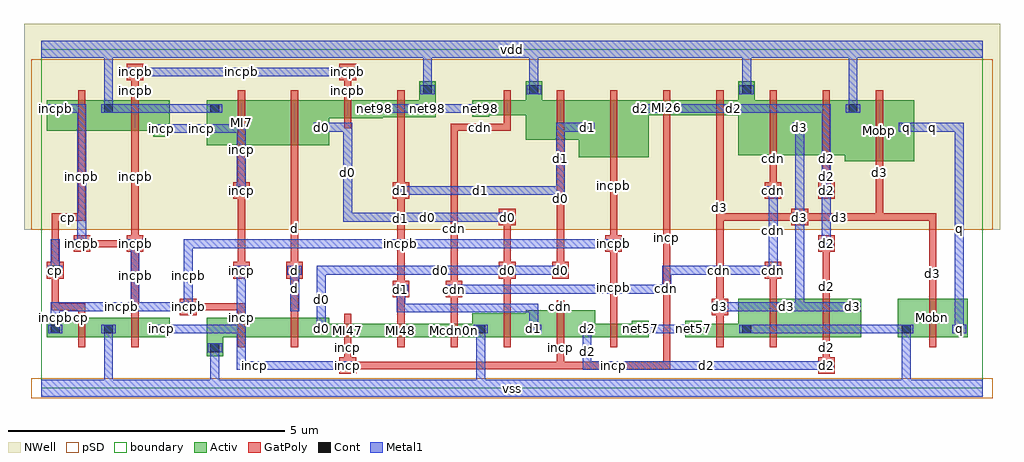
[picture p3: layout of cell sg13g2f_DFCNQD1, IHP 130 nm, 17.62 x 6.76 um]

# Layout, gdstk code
import gdstk
lib = gdstk.Library(unit=1e-6, precision=1e-09)
def R(c, l, rs):  # rectangles x0, y0, x1, y1
    for r in rs: c.add(gdstk.rectangle(r[:2], r[2:], *l))
def A(c, l, x, y, w, h, nx, ny, dx, dy):  # array of equal rectangles
    R(c, l, [(x+i*dx, y+j*dy, x+i*dx+w, y+j*dy+h) for i in range(nx) for j in range(ny)])
Activ = (1, 0)
GatPoly = (5, 0)
Cont = (6, 0)
Metal1 = (8, 0)
pSD = (14, 0)
NWell = (31, 0)
TEXT = (63, 0)
boundary = (189, 4)

sg13g2f_dfcnqd1 = lib.new_cell('sg13g2f_DFCNQD1')
A(sg13g2f_dfcnqd1, Activ, 0.105, 0.92, 0.3, 0.3, 3, 1, 0.96, 0)
A(sg13g2f_dfcnqd1, Activ, 4.905, 0.92, 1.26, 0.245, 3, 1, 0.96, 0)
A(sg13g2f_dfcnqd1, Activ, 7.785, 0.92, 0.3, 0.3, 6, 1, 0.96, 0)
R(sg13g2f_dfcnqd1, Activ, [(2.985,0.58,3.285,0.88), (2.985,0.58,3.285,1.27), (0.105,0.92,1.365,1.27), (1.065,0.92,2.325,1.27), (2.985,0.92,4.245,1.27), (3.945,0.92,5.205,1.27), (4.905,0.92,5.205,1.22), (7.785,0.92,9.045,1.35), (8.745,0.92,10.005,1.41), (9.705,0.92,10.965,1.165), (11.625,0.92,12.885,1.165), (12.585,0.92,13.845,1.62), (13.545,0.92,14.805,1.62), (15.465,0.92,16.725,1.62), (15.465,0.92,15.765,1.22), (16.425,0.92,16.725,1.22), (14.505,1.32,14.805,1.62), (14.505,4.1,15.765,5.2), (9.705,4.17,10.965,5.2), (12.585,4.21,13.845,5.2), (13.545,4.21,14.805,5.2), (2.985,4.39,4.245,5.2), (3.945,4.39,5.205,5.2), (8.745,4.485,10.005,5.2), (2.025,4.54,2.325,4.84), (4.905,4.56,5.205,4.86), (9.705,4.56,10.005,4.86), (13.545,4.56,13.845,4.86), (15.465,4.56,15.765,4.86), (0.105,4.65,1.365,5.2), (1.065,4.65,2.325,5.2), (4.905,4.87,6.165,5.2), (5.865,4.895,7.125,5.2), (6.825,4.895,7.125,5.54), (0.105,4.9,0.405,5.2), (1.065,4.9,1.365,5.2), (2.985,4.9,3.285,5.2), (5.865,4.9,6.165,5.2), (7.785,4.9,8.085,5.2), (10.665,4.9,10.965,5.2), (14.505,4.9,14.805,5.2), (7.785,4.925,9.045,5.2), (8.745,4.925,9.045,5.54), (10.665,4.925,11.925,5.2), (11.625,4.925,12.885,5.2), (12.585,4.925,12.885,5.54), (6.825,5.24,7.125,5.54), (8.745,5.24,9.045,5.54), (12.585,5.24,12.885,5.54)])
A(sg13g2f_dfcnqd1, GatPoly, 5.47, 0.74, 0.13, 0.605, 3, 1, 0.96, 0)
R(sg13g2f_dfcnqd1, GatPoly, [(5.385,0.26,5.685,0.56), (14.025,0.26,14.325,0.56), (5.47,0.345,5.6,1.135), (5.47,0.345,11.36,0.475), (9.31,0.345,9.44,1.135), (11.23,0.345,11.36,5.115), (14.11,0.345,14.24,1.135), (0.67,0.74,0.8,1.45), (1.63,0.74,1.76,1.45), (3.55,0.74,3.68,1.45), (4.51,0.74,4.64,1.45), (8.35,0.74,8.48,1.53), (9.31,0.74,9.44,1.59), (10.27,0.74,10.4,1.345), (12.19,0.74,12.32,1.345), (13.15,0.74,13.28,1.8), (14.11,0.74,14.24,1.8), (16.03,0.74,16.16,1.8), (0.67,1.005,0.8,1.535), (1.63,1.005,1.76,2.675), (3.55,1.005,3.68,1.535), (4.51,1.005,4.64,4.775), (6.43,1.005,6.56,5.115), (7.39,1.005,7.52,4.775), (8.35,1.005,8.48,3.155), (10.27,1.005,10.4,2.675), (12.19,1.005,12.32,1.535), (13.15,1.005,13.28,2.195), (14.11,1.005,14.24,2.675), (16.03,1.005,16.16,3.155), (2.505,1.32,2.805,1.62), (12.105,1.32,12.405,1.62), (0.19,1.405,0.8,1.535), (0.19,1.405,0.32,3.155), (2.59,1.405,3.68,1.535), (12.19,1.405,12.32,5.115), (6.345,1.64,6.645,1.94), (7.305,1.64,7.605,1.94), (0.105,1.98,0.405,2.28), (3.465,1.98,3.765,2.28), (4.425,1.98,4.725,2.28), (8.265,1.98,8.565,2.28), (9.225,1.98,9.525,2.28), (13.065,1.98,13.365,2.28), (3.55,2.065,3.68,4.775), (9.31,2.065,9.44,4.775), (0.585,2.46,0.885,2.76), (1.545,2.46,1.845,2.76), (10.185,2.46,10.485,2.76), (14.025,2.46,14.325,2.76), (0.67,2.545,1.76,2.675), (1.63,2.545,1.76,5.115), (10.27,2.545,10.4,4.775), (8.265,2.94,8.565,3.24), (13.545,2.94,13.845,3.24), (0.19,3.025,0.8,3.155), (0.67,3.025,0.8,5.115), (12.19,3.025,16.16,3.155), (13.63,3.025,15.2,3.155), (15.07,3.025,15.2,4.775), (3.465,3.42,3.765,3.72), (6.345,3.42,6.645,3.72), (13.065,3.42,13.365,3.72), (14.025,3.42,14.325,3.72), (13.15,3.505,13.28,4.775), (14.11,3.505,14.24,4.775), (15.07,3.92,15.2,5.38), (10.27,3.99,10.4,5.38), (13.15,4.03,13.28,5.38), (14.11,4.03,14.24,5.38), (3.55,4.21,3.68,5.38), (4.51,4.21,4.64,5.38), (9.31,4.305,9.44,5.38), (0.67,4.47,0.8,5.38), (1.63,4.47,1.76,5.38), (7.39,4.645,8.48,4.775), (8.35,4.645,8.48,5.115), (5.47,4.69,5.6,5.38), (6.43,4.715,6.56,5.38), (8.35,4.745,8.48,5.38), (11.23,4.745,11.36,5.38), (12.19,4.745,12.32,5.38), (1.63,4.985,1.76,5.775), (5.47,4.985,5.6,5.775), (1.545,5.56,1.845,5.86), (5.385,5.56,5.685,5.86)])
A(sg13g2f_dfcnqd1, Cont, 0.175, 0.99, 0.16, 0.16, 3, 1, 0.96, 0)
A(sg13g2f_dfcnqd1, Cont, 7.855, 0.99, 0.16, 0.16, 6, 1, 0.96, 0)
R(sg13g2f_dfcnqd1, Cont, [(5.455,0.33,5.615,0.49), (14.095,0.33,14.255,0.49), (3.055,0.65,3.215,0.81), (4.975,0.99,5.135,1.15), (15.535,0.99,15.695,1.15), (16.495,0.99,16.655,1.15), (2.575,1.39,2.735,1.55), (12.175,1.39,12.335,1.55), (14.575,1.39,14.735,1.55), (6.415,1.71,6.575,1.87), (7.375,1.71,7.535,1.87), (0.175,2.05,0.335,2.21), (3.535,2.05,3.695,2.21), (4.495,2.05,4.655,2.21), (8.335,2.05,8.495,2.21), (9.295,2.05,9.455,2.21), (13.135,2.05,13.295,2.21), (0.655,2.53,0.815,2.69), (1.615,2.53,1.775,2.69), (10.255,2.53,10.415,2.69), (14.095,2.53,14.255,2.69), (8.335,3.01,8.495,3.17), (13.615,3.01,13.775,3.17), (3.535,3.49,3.695,3.65), (6.415,3.49,6.575,3.65), (13.135,3.49,13.295,3.65), (14.095,3.49,14.255,3.65), (2.095,4.61,2.255,4.77), (4.975,4.63,5.135,4.79), (9.775,4.63,9.935,4.79), (13.615,4.63,13.775,4.79), (15.535,4.63,15.695,4.79), (0.175,4.97,0.335,5.13), (1.135,4.97,1.295,5.13), (3.055,4.97,3.215,5.13), (5.935,4.97,6.095,5.13), (7.855,4.97,8.015,5.13), (10.735,4.97,10.895,5.13), (14.575,4.97,14.735,5.13), (6.895,5.31,7.055,5.47), (8.815,5.31,8.975,5.47), (12.655,5.31,12.815,5.47), (1.615,5.63,1.775,5.79), (5.455,5.63,5.615,5.79)])
A(sg13g2f_dfcnqd1, Metal1, 0.125, 0.99, 0.26, 0.16, 3, 1, 0.96, 0)
A(sg13g2f_dfcnqd1, Metal1, 7.805, 0.99, 0.26, 0.16, 6, 1, 0.96, 0)
R(sg13g2f_dfcnqd1, Metal1, [(0,-0.15,17,0.15), (1.135,0.15,1.295,0.99), (3.055,0.15,3.215,0.65), (7.855,0.15,8.015,0.99), (15.535,0.15,15.695,0.99), (3.535,0.33,5.615,0.49), (3.535,0.33,3.695,2.21), (5.405,0.33,5.665,0.49), (9.775,0.33,14.255,0.49), (9.775,0.33,9.935,1.15), (14.045,0.33,14.305,0.49), (3.005,0.65,3.265,0.81), (0.175,0.99,0.335,1.55), (2.095,0.99,3.695,1.15), (4.925,0.99,5.185,1.15), (4.975,0.99,5.135,2.21), (8.815,0.99,8.975,1.53), (10.735,0.99,11.855,1.15), (12.655,0.99,15.695,1.15), (15.485,0.99,15.745,1.15), (16.445,0.99,16.705,1.15), (16.495,0.99,16.655,4.79), (6.415,1.37,8.975,1.53), (6.415,1.37,6.575,1.87), (0.175,1.39,2.735,1.55), (1.615,1.39,1.775,2.69), (2.525,1.39,2.785,1.55), (2.575,1.39,2.735,2.69), (4.495,1.39,4.655,2.21), (12.125,1.39,12.385,1.55), (12.175,1.39,14.735,1.55), (13.615,1.39,13.775,4.79), (14.525,1.39,14.785,1.55), (6.365,1.71,6.625,1.87), (7.325,1.71,7.585,1.87), (7.375,1.71,11.375,1.87), (11.215,1.71,11.375,2.21), (0.125,2.05,0.385,2.21), (0.175,2.05,0.335,2.69), (3.485,2.05,3.745,2.21), (4.445,2.05,4.705,2.21), (4.975,2.05,9.455,2.21), (8.285,2.05,8.545,2.21), (9.245,2.05,9.505,2.21), (11.215,2.05,13.295,2.21), (13.085,2.05,13.345,2.21), (13.135,2.05,13.295,3.65), (0.605,2.53,0.865,2.69), (0.655,2.53,0.815,5.13), (1.565,2.53,1.825,2.69), (2.575,2.53,10.415,2.69), (10.205,2.53,10.465,2.69), (14.045,2.53,14.305,2.69), (14.095,2.53,14.255,5.13), (5.455,3.01,8.495,3.17), (5.455,3.01,5.615,4.79), (8.285,3.01,8.545,3.17), (13.565,3.01,13.825,3.17), (3.485,3.49,3.745,3.65), (3.535,3.49,3.695,4.77), (6.365,3.49,6.625,3.65), (6.415,3.49,9.455,3.65), (9.295,3.49,9.455,4.79), (13.085,3.49,13.345,3.65), (14.045,3.49,14.305,3.65), (2.045,4.61,2.305,4.77), (2.095,4.61,3.695,4.77), (4.925,4.63,5.185,4.79), (4.975,4.63,5.615,4.79), (9.295,4.63,9.935,4.79), (9.725,4.63,9.985,4.79), (13.565,4.63,13.825,4.79), (15.485,4.63,15.745,4.79), (15.535,4.63,16.655,4.79), (0.125,4.97,0.385,5.13), (0.175,4.97,0.815,5.13), (1.085,4.97,1.345,5.13), (1.135,4.97,3.215,5.13), (1.135,4.97,1.295,5.97), (3.005,4.97,3.265,5.13), (5.885,4.97,6.145,5.13), (5.935,4.97,8.015,5.13), (7.805,4.97,8.065,5.13), (10.685,4.97,10.945,5.13), (10.735,4.97,14.255,5.13), (14.525,4.97,14.785,5.13), (14.575,5.13,14.735,5.97), (6.845,5.31,7.105,5.47), (8.765,5.31,9.025,5.47), (12.605,5.31,12.865,5.47), (6.895,5.47,7.055,5.97), (8.815,5.47,8.975,5.97), (12.655,5.47,12.815,5.97), (1.565,5.63,1.825,5.79), (1.615,5.63,5.615,5.79), (5.405,5.63,5.665,5.79), (0,5.97,17,6.27)])
R(sg13g2f_dfcnqd1, pSD, [(-0.18,-0.18,17.18,0.18), (-0.18,2.86,17.18,5.94)])
R(sg13g2f_dfcnqd1, NWell, [(-0.31,2.86,17.31,6.58)])
R(sg13g2f_dfcnqd1, boundary, [(0,0,17,6.12)])
sg13g2f_dfcnqd1.add(gdstk.FlexPath([(0.105,0.41),(16.725,0.41)], 0, ends="flush", simple_path=True, layer=63, datatype=0))  # TEXT
sg13g2f_dfcnqd1.add(gdstk.FlexPath([(0.105,1.07),(16.725,1.07)], 0, ends="flush", simple_path=True, layer=63, datatype=0))  # TEXT
sg13g2f_dfcnqd1.add(gdstk.FlexPath([(0.105,1.49),(16.725,1.49)], 0, ends="flush", simple_path=True, layer=63, datatype=0))  # TEXT
sg13g2f_dfcnqd1.add(gdstk.FlexPath([(0.105,2.15),(16.725,2.15)], 0, ends="flush", simple_path=True, layer=63, datatype=0))  # TEXT
sg13g2f_dfcnqd1.add(gdstk.FlexPath([(0.105,2.63),(16.725,2.63)], 0, ends="flush", simple_path=True, layer=63, datatype=0))  # TEXT
sg13g2f_dfcnqd1.add(gdstk.FlexPath([(0.105,3.11),(16.725,3.11)], 0, ends="flush", simple_path=True, layer=63, datatype=0))  # TEXT
sg13g2f_dfcnqd1.add(gdstk.FlexPath([(0.105,4.15),(16.725,4.15)], 0, ends="flush", simple_path=True, layer=63, datatype=0))  # TEXT
sg13g2f_dfcnqd1.add(gdstk.FlexPath([(0.105,4.71),(16.725,4.71)], 0, ends="flush", simple_path=True, layer=63, datatype=0))  # TEXT
sg13g2f_dfcnqd1.add(gdstk.FlexPath([(0.105,5.05),(16.725,5.05)], 0, ends="flush", simple_path=True, layer=63, datatype=0))  # TEXT
sg13g2f_dfcnqd1.add(gdstk.FlexPath([(0.105,5.71),(16.725,5.71)], 0, ends="flush", simple_path=True, layer=63, datatype=0))  # TEXT
sg13g2f_dfcnqd1.add(gdstk.FlexPath([(0.255,0.07),(0.255,6.05)], 0, ends="flush", simple_path=True, layer=63, datatype=0))  # TEXT
sg13g2f_dfcnqd1.add(gdstk.FlexPath([(0.735,0.07),(0.735,6.05)], 0, ends="flush", simple_path=True, layer=63, datatype=0))  # TEXT
sg13g2f_dfcnqd1.add(gdstk.FlexPath([(1.215,0.07),(1.215,6.05)], 0, ends="flush", simple_path=True, layer=63, datatype=0))  # TEXT
sg13g2f_dfcnqd1.add(gdstk.FlexPath([(1.695,0.07),(1.695,6.05)], 0, ends="flush", simple_path=True, layer=63, datatype=0))  # TEXT
sg13g2f_dfcnqd1.add(gdstk.FlexPath([(2.175,0.07),(2.175,6.05)], 0, ends="flush", simple_path=True, layer=63, datatype=0))  # TEXT
sg13g2f_dfcnqd1.add(gdstk.FlexPath([(2.655,0.07),(2.655,6.05)], 0, ends="flush", simple_path=True, layer=63, datatype=0))  # TEXT
sg13g2f_dfcnqd1.add(gdstk.FlexPath([(3.135,0.07),(3.135,6.05)], 0, ends="flush", simple_path=True, layer=63, datatype=0))  # TEXT
sg13g2f_dfcnqd1.add(gdstk.FlexPath([(3.615,0.07),(3.615,6.05)], 0, ends="flush", simple_path=True, layer=63, datatype=0))  # TEXT
sg13g2f_dfcnqd1.add(gdstk.FlexPath([(4.095,0.07),(4.095,6.05)], 0, ends="flush", simple_path=True, layer=63, datatype=0))  # TEXT
sg13g2f_dfcnqd1.add(gdstk.FlexPath([(4.575,0.07),(4.575,6.05)], 0, ends="flush", simple_path=True, layer=63, datatype=0))  # TEXT
sg13g2f_dfcnqd1.add(gdstk.FlexPath([(5.055,0.07),(5.055,6.05)], 0, ends="flush", simple_path=True, layer=63, datatype=0))  # TEXT
sg13g2f_dfcnqd1.add(gdstk.FlexPath([(5.535,0.07),(5.535,6.05)], 0, ends="flush", simple_path=True, layer=63, datatype=0))  # TEXT
sg13g2f_dfcnqd1.add(gdstk.FlexPath([(6.015,0.07),(6.015,6.05)], 0, ends="flush", simple_path=True, layer=63, datatype=0))  # TEXT
sg13g2f_dfcnqd1.add(gdstk.FlexPath([(6.495,0.07),(6.495,6.05)], 0, ends="flush", simple_path=True, layer=63, datatype=0))  # TEXT
sg13g2f_dfcnqd1.add(gdstk.FlexPath([(6.975,0.07),(6.975,6.05)], 0, ends="flush", simple_path=True, layer=63, datatype=0))  # TEXT
sg13g2f_dfcnqd1.add(gdstk.FlexPath([(7.455,0.07),(7.455,6.05)], 0, ends="flush", simple_path=True, layer=63, datatype=0))  # TEXT
sg13g2f_dfcnqd1.add(gdstk.FlexPath([(7.935,0.07),(7.935,6.05)], 0, ends="flush", simple_path=True, layer=63, datatype=0))  # TEXT
sg13g2f_dfcnqd1.add(gdstk.FlexPath([(8.415,0.07),(8.415,6.05)], 0, ends="flush", simple_path=True, layer=63, datatype=0))  # TEXT
sg13g2f_dfcnqd1.add(gdstk.FlexPath([(8.895,0.07),(8.895,6.05)], 0, ends="flush", simple_path=True, layer=63, datatype=0))  # TEXT
sg13g2f_dfcnqd1.add(gdstk.FlexPath([(9.375,0.07),(9.375,6.05)], 0, ends="flush", simple_path=True, layer=63, datatype=0))  # TEXT
sg13g2f_dfcnqd1.add(gdstk.FlexPath([(9.855,0.07),(9.855,6.05)], 0, ends="flush", simple_path=True, layer=63, datatype=0))  # TEXT
sg13g2f_dfcnqd1.add(gdstk.FlexPath([(10.335,0.07),(10.335,6.05)], 0, ends="flush", simple_path=True, layer=63, datatype=0))  # TEXT
sg13g2f_dfcnqd1.add(gdstk.FlexPath([(10.815,0.07),(10.815,6.05)], 0, ends="flush", simple_path=True, layer=63, datatype=0))  # TEXT
sg13g2f_dfcnqd1.add(gdstk.FlexPath([(11.295,0.07),(11.295,6.05)], 0, ends="flush", simple_path=True, layer=63, datatype=0))  # TEXT
sg13g2f_dfcnqd1.add(gdstk.FlexPath([(11.775,0.07),(11.775,6.05)], 0, ends="flush", simple_path=True, layer=63, datatype=0))  # TEXT
sg13g2f_dfcnqd1.add(gdstk.FlexPath([(12.255,0.07),(12.255,6.05)], 0, ends="flush", simple_path=True, layer=63, datatype=0))  # TEXT
sg13g2f_dfcnqd1.add(gdstk.FlexPath([(12.735,0.07),(12.735,6.05)], 0, ends="flush", simple_path=True, layer=63, datatype=0))  # TEXT
sg13g2f_dfcnqd1.add(gdstk.FlexPath([(13.215,0.07),(13.215,6.05)], 0, ends="flush", simple_path=True, layer=63, datatype=0))  # TEXT
sg13g2f_dfcnqd1.add(gdstk.FlexPath([(13.695,0.07),(13.695,6.05)], 0, ends="flush", simple_path=True, layer=63, datatype=0))  # TEXT
sg13g2f_dfcnqd1.add(gdstk.FlexPath([(14.175,0.07),(14.175,6.05)], 0, ends="flush", simple_path=True, layer=63, datatype=0))  # TEXT
sg13g2f_dfcnqd1.add(gdstk.FlexPath([(14.655,0.07),(14.655,6.05)], 0, ends="flush", simple_path=True, layer=63, datatype=0))  # TEXT
sg13g2f_dfcnqd1.add(gdstk.FlexPath([(15.135,0.07),(15.135,6.05)], 0, ends="flush", simple_path=True, layer=63, datatype=0))  # TEXT
sg13g2f_dfcnqd1.add(gdstk.FlexPath([(15.615,0.07),(15.615,6.05)], 0, ends="flush", simple_path=True, layer=63, datatype=0))  # TEXT
sg13g2f_dfcnqd1.add(gdstk.FlexPath([(16.095,0.07),(16.095,6.05)], 0, ends="flush", simple_path=True, layer=63, datatype=0))  # TEXT
sg13g2f_dfcnqd1.add(gdstk.FlexPath([(16.575,0.07),(16.575,6.05)], 0, ends="flush", simple_path=True, layer=63, datatype=0))  # TEXT
sg13g2f_dfcnqd1.add(gdstk.Label('incpb', (0.255,5.05), layer=6, texttype=0))
sg13g2f_dfcnqd1.add(gdstk.Label('incpb', (2.655,1.47), layer=6, texttype=0))
sg13g2f_dfcnqd1.add(gdstk.Label('incpb', (10.335,2.61), layer=6, texttype=0))
sg13g2f_dfcnqd1.add(gdstk.Label('incpb', (0.735,2.61), layer=6, texttype=0))
sg13g2f_dfcnqd1.add(gdstk.Label('incpb', (1.695,2.61), layer=6, texttype=0))
sg13g2f_dfcnqd1.add(gdstk.Label('incpb', (1.695,5.71), layer=6, texttype=0))
sg13g2f_dfcnqd1.add(gdstk.Label('incpb', (5.535,5.71), layer=6, texttype=0))
sg13g2f_dfcnqd1.add(gdstk.Label('cp', (0.255,2.13), layer=6, texttype=0))
sg13g2f_dfcnqd1.add(gdstk.Label('incp', (2.175,1.07), layer=6, texttype=0))
sg13g2f_dfcnqd1.add(gdstk.Label('incp', (2.175,4.69), layer=6, texttype=0))
sg13g2f_dfcnqd1.add(gdstk.Label('incp', (5.535,0.41), layer=6, texttype=0))
sg13g2f_dfcnqd1.add(gdstk.Label('incp', (3.615,2.13), layer=6, texttype=0))
sg13g2f_dfcnqd1.add(gdstk.Label('incp', (3.615,3.57), layer=6, texttype=0))
sg13g2f_dfcnqd1.add(gdstk.Label('cdn', (7.455,1.79), layer=6, texttype=0))
sg13g2f_dfcnqd1.add(gdstk.Label('d0', (5.055,1.07), layer=6, texttype=0))
sg13g2f_dfcnqd1.add(gdstk.Label('d0', (5.055,4.71), layer=6, texttype=0))
sg13g2f_dfcnqd1.add(gdstk.Label('d0', (9.375,2.13), layer=6, texttype=0))
sg13g2f_dfcnqd1.add(gdstk.Label('d0', (8.415,3.09), layer=6, texttype=0))
sg13g2f_dfcnqd1.add(gdstk.Label('d0', (8.415,2.13), layer=6, texttype=0))
sg13g2f_dfcnqd1.add(gdstk.Label('d', (4.575,2.13), layer=6, texttype=0))
sg13g2f_dfcnqd1.add(gdstk.Label('net98', (6.015,5.05), layer=6, texttype=0))
sg13g2f_dfcnqd1.add(gdstk.Label('net98', (7.935,5.05), layer=6, texttype=0))
sg13g2f_dfcnqd1.add(gdstk.Label('d1', (8.895,1.07), layer=6, texttype=0))
sg13g2f_dfcnqd1.add(gdstk.Label('d1', (9.855,4.71), layer=6, texttype=0))
sg13g2f_dfcnqd1.add(gdstk.Label('d1', (6.495,3.57), layer=6, texttype=0))
sg13g2f_dfcnqd1.add(gdstk.Label('d1', (6.495,1.79), layer=6, texttype=0))
sg13g2f_dfcnqd1.add(gdstk.Label('cdn', (13.215,2.13), layer=6, texttype=0))
sg13g2f_dfcnqd1.add(gdstk.Label('cdn', (13.215,3.57), layer=6, texttype=0))
sg13g2f_dfcnqd1.add(gdstk.Label('d2', (9.855,1.07), layer=6, texttype=0))
sg13g2f_dfcnqd1.add(gdstk.Label('d2', (10.815,5.05), layer=6, texttype=0))
sg13g2f_dfcnqd1.add(gdstk.Label('d2', (14.175,0.41), layer=6, texttype=0))
sg13g2f_dfcnqd1.add(gdstk.Label('d2', (14.175,2.61), layer=6, texttype=0))
sg13g2f_dfcnqd1.add(gdstk.Label('d2', (14.175,3.57), layer=6, texttype=0))
sg13g2f_dfcnqd1.add(gdstk.Label('net57', (10.815,1.07), layer=6, texttype=0))
sg13g2f_dfcnqd1.add(gdstk.Label('net57', (11.775,1.07), layer=6, texttype=0))
sg13g2f_dfcnqd1.add(gdstk.Label('d3', (14.655,1.47), layer=6, texttype=0))
sg13g2f_dfcnqd1.add(gdstk.Label('d3', (13.695,4.71), layer=6, texttype=0))
sg13g2f_dfcnqd1.add(gdstk.Label('d3', (12.255,1.47), layer=6, texttype=0))
sg13g2f_dfcnqd1.add(gdstk.Label('d3', (13.695,3.09), layer=6, texttype=0))
sg13g2f_dfcnqd1.add(gdstk.Label('q', (16.575,1.07), layer=6, texttype=0))
sg13g2f_dfcnqd1.add(gdstk.Label('q', (15.615,4.71), layer=6, texttype=0))
sg13g2f_dfcnqd1.add(gdstk.Label('d2', (9.855,0.67), layer=8, texttype=0))
sg13g2f_dfcnqd1.add(gdstk.Label('incpb', (0.255,5.05), layer=8, texttype=0))
sg13g2f_dfcnqd1.add(gdstk.Label('incpb', (0.255,1.27), layer=8, texttype=0))
sg13g2f_dfcnqd1.add(gdstk.Label('incpb', (1.455,1.47), layer=8, texttype=0))
sg13g2f_dfcnqd1.add(gdstk.Label('incpb', (2.655,1.47), layer=8, texttype=0))
sg13g2f_dfcnqd1.add(gdstk.Label('incpb', (2.655,2.04), layer=8, texttype=0))
sg13g2f_dfcnqd1.add(gdstk.Label('incpb', (6.495,2.61), layer=8, texttype=0))
sg13g2f_dfcnqd1.add(gdstk.Label('incpb', (10.335,2.61), layer=8, texttype=0))
sg13g2f_dfcnqd1.add(gdstk.Label('incpb', (0.735,2.61), layer=8, texttype=0))
sg13g2f_dfcnqd1.add(gdstk.Label('incpb', (0.735,3.83), layer=8, texttype=0))
sg13g2f_dfcnqd1.add(gdstk.Label('incpb', (0.495,5.05), layer=8, texttype=0))
sg13g2f_dfcnqd1.add(gdstk.Label('incpb', (1.695,2.04), layer=8, texttype=0))
sg13g2f_dfcnqd1.add(gdstk.Label('incpb', (1.695,2.61), layer=8, texttype=0))
sg13g2f_dfcnqd1.add(gdstk.Label('incpb', (1.695,5.71), layer=8, texttype=0))
sg13g2f_dfcnqd1.add(gdstk.Label('incpb', (3.615,5.71), layer=8, texttype=0))
sg13g2f_dfcnqd1.add(gdstk.Label('incpb', (5.535,5.71), layer=8, texttype=0))
sg13g2f_dfcnqd1.add(gdstk.Label('incp', (2.175,1.07), layer=8, texttype=0))
sg13g2f_dfcnqd1.add(gdstk.Label('incp', (2.175,4.69), layer=8, texttype=0))
sg13g2f_dfcnqd1.add(gdstk.Label('incp', (3.855,0.41), layer=8, texttype=0))
sg13g2f_dfcnqd1.add(gdstk.Label('incp', (5.535,0.41), layer=8, texttype=0))
sg13g2f_dfcnqd1.add(gdstk.Label('incp', (3.615,1.27), layer=8, texttype=0))
sg13g2f_dfcnqd1.add(gdstk.Label('incp', (3.615,2.13), layer=8, texttype=0))
sg13g2f_dfcnqd1.add(gdstk.Label('incp', (2.895,4.69), layer=8, texttype=0))
sg13g2f_dfcnqd1.add(gdstk.Label('incp', (3.615,4.31), layer=8, texttype=0))
sg13g2f_dfcnqd1.add(gdstk.Label('incp', (3.615,3.57), layer=8, texttype=0))
sg13g2f_dfcnqd1.add(gdstk.Label('d0', (5.055,1.07), layer=8, texttype=0))
sg13g2f_dfcnqd1.add(gdstk.Label('d0', (5.055,4.71), layer=8, texttype=0))
sg13g2f_dfcnqd1.add(gdstk.Label('d0', (5.055,1.6), layer=8, texttype=0))
sg13g2f_dfcnqd1.add(gdstk.Label('d0', (7.215,2.13), layer=8, texttype=0))
sg13g2f_dfcnqd1.add(gdstk.Label('d0', (9.375,2.13), layer=8, texttype=0))
sg13g2f_dfcnqd1.add(gdstk.Label('d0', (8.415,3.09), layer=8, texttype=0))
sg13g2f_dfcnqd1.add(gdstk.Label('d0', (6.975,3.09), layer=8, texttype=0))
sg13g2f_dfcnqd1.add(gdstk.Label('d0', (5.535,3.9), layer=8, texttype=0))
sg13g2f_dfcnqd1.add(gdstk.Label('d0', (5.295,4.71), layer=8, texttype=0))
sg13g2f_dfcnqd1.add(gdstk.Label('d0', (8.415,2.13), layer=8, texttype=0))
sg13g2f_dfcnqd1.add(gdstk.Label('net98', (6.015,5.05), layer=8, texttype=0))
sg13g2f_dfcnqd1.add(gdstk.Label('net98', (7.935,5.05), layer=8, texttype=0))
sg13g2f_dfcnqd1.add(gdstk.Label('net98', (6.975,5.05), layer=8, texttype=0))
sg13g2f_dfcnqd1.add(gdstk.Label('d1', (8.895,1.07), layer=8, texttype=0))
sg13g2f_dfcnqd1.add(gdstk.Label('d1', (9.855,4.71), layer=8, texttype=0))
sg13g2f_dfcnqd1.add(gdstk.Label('d1', (6.495,3.57), layer=8, texttype=0))
sg13g2f_dfcnqd1.add(gdstk.Label('d1', (7.935,3.57), layer=8, texttype=0))
sg13g2f_dfcnqd1.add(gdstk.Label('d1', (9.375,4.14), layer=8, texttype=0))
sg13g2f_dfcnqd1.add(gdstk.Label('d1', (9.615,4.71), layer=8, texttype=0))
sg13g2f_dfcnqd1.add(gdstk.Label('d1', (6.495,1.79), layer=8, texttype=0))
sg13g2f_dfcnqd1.add(gdstk.Label('d2', (9.855,1.07), layer=8, texttype=0))
sg13g2f_dfcnqd1.add(gdstk.Label('d2', (10.815,5.05), layer=8, texttype=0))
sg13g2f_dfcnqd1.add(gdstk.Label('d2', (12.015,0.41), layer=8, texttype=0))
sg13g2f_dfcnqd1.add(gdstk.Label('d2', (14.175,0.41), layer=8, texttype=0))
sg13g2f_dfcnqd1.add(gdstk.Label('d2', (14.175,2.61), layer=8, texttype=0))
sg13g2f_dfcnqd1.add(gdstk.Label('d2', (14.175,3.83), layer=8, texttype=0))
sg13g2f_dfcnqd1.add(gdstk.Label('d2', (12.495,5.05), layer=8, texttype=0))
sg13g2f_dfcnqd1.add(gdstk.Label('d2', (14.175,3.57), layer=8, texttype=0))
sg13g2f_dfcnqd1.add(gdstk.Label('net57', (10.815,1.07), layer=8, texttype=0))
sg13g2f_dfcnqd1.add(gdstk.Label('net57', (11.775,1.07), layer=8, texttype=0))
sg13g2f_dfcnqd1.add(gdstk.Label('net57', (11.295,1.07), layer=8, texttype=0))
sg13g2f_dfcnqd1.add(gdstk.Label('d3', (14.655,1.47), layer=8, texttype=0))
sg13g2f_dfcnqd1.add(gdstk.Label('d3', (13.695,4.71), layer=8, texttype=0))
sg13g2f_dfcnqd1.add(gdstk.Label('d3', (12.255,1.47), layer=8, texttype=0))
sg13g2f_dfcnqd1.add(gdstk.Label('d3', (13.455,1.47), layer=8, texttype=0))
sg13g2f_dfcnqd1.add(gdstk.Label('d3', (13.695,3.09), layer=8, texttype=0))
sg13g2f_dfcnqd1.add(gdstk.Label('d3', (13.695,3.09), layer=8, texttype=0))
sg13g2f_dfcnqd1.add(gdstk.Label('cp', (0.255,2.13), layer=8, texttype=2))
sg13g2f_dfcnqd1.add(gdstk.Label('cp', (0.255,2.37), layer=8, texttype=2))
sg13g2f_dfcnqd1.add(gdstk.Label('d', (4.575,2.13), layer=8, texttype=2))
sg13g2f_dfcnqd1.add(gdstk.Label('d', (4.575,1.8), layer=8, texttype=2))
sg13g2f_dfcnqd1.add(gdstk.Label('cdn', (13.215,2.13), layer=8, texttype=2))
sg13g2f_dfcnqd1.add(gdstk.Label('cdn', (13.215,2.85), layer=8, texttype=2))
sg13g2f_dfcnqd1.add(gdstk.Label('cdn', (13.215,3.57), layer=8, texttype=2))
sg13g2f_dfcnqd1.add(gdstk.Label('cdn', (9.375,1.47), layer=8, texttype=2))
sg13g2f_dfcnqd1.add(gdstk.Label('cdn', (11.295,1.8), layer=8, texttype=2))
sg13g2f_dfcnqd1.add(gdstk.Label('cdn', (12.255,2.13), layer=8, texttype=2))
sg13g2f_dfcnqd1.add(gdstk.Label('q', (16.575,1.07), layer=8, texttype=2))
sg13g2f_dfcnqd1.add(gdstk.Label('q', (15.615,4.71), layer=8, texttype=2))
sg13g2f_dfcnqd1.add(gdstk.Label('q', (16.575,2.89), layer=8, texttype=2))
sg13g2f_dfcnqd1.add(gdstk.Label('q', (16.095,4.71), layer=8, texttype=2))
sg13g2f_dfcnqd1.add(gdstk.Label('vss', (8.5,0), layer=8, texttype=2))
sg13g2f_dfcnqd1.add(gdstk.Label('vdd', (8.5,6.12), layer=8, texttype=2))
sg13g2f_dfcnqd1.add(gdstk.Label('Mcpbn', (0.735,1.095), layer=1, texttype=0))
sg13g2f_dfcnqd1.add(gdstk.Label('Mcpn', (1.695,1.095), layer=1, texttype=0))
sg13g2f_dfcnqd1.add(gdstk.Label('MI4', (3.615,1.095), layer=1, texttype=0))
sg13g2f_dfcnqd1.add(gdstk.Label('Mdd0n', (4.575,1.095), layer=1, texttype=0))
sg13g2f_dfcnqd1.add(gdstk.Label('MI47', (5.535,1.043), layer=1, texttype=0))
sg13g2f_dfcnqd1.add(gdstk.Label('MI48', (6.495,1.043), layer=1, texttype=0))
sg13g2f_dfcnqd1.add(gdstk.Label('Mcdn0n', (7.455,1.043), layer=1, texttype=0))
sg13g2f_dfcnqd1.add(gdstk.Label('Md0d1n', (8.415,1.135), layer=1, texttype=0))
sg13g2f_dfcnqd1.add(gdstk.Label('Mswd1d2n', (9.375,1.165), layer=1, texttype=0))
sg13g2f_dfcnqd1.add(gdstk.Label('MI23', (10.335,1.043), layer=1, texttype=0))
sg13g2f_dfcnqd1.add(gdstk.Label('MI24', (12.255,1.043), layer=1, texttype=0))
sg13g2f_dfcnqd1.add(gdstk.Label('Mcdn1n', (13.215,1.27), layer=1, texttype=0))
sg13g2f_dfcnqd1.add(gdstk.Label('Md2d3n', (14.175,1.27), layer=1, texttype=0))
sg13g2f_dfcnqd1.add(gdstk.Label('Mobn', (16.095,1.27), layer=1, texttype=0))
sg13g2f_dfcnqd1.add(gdstk.Label('Mcpbp', (0.735,4.925), layer=1, texttype=0))
sg13g2f_dfcnqd1.add(gdstk.Label('Mcpp', (1.695,4.925), layer=1, texttype=0))
sg13g2f_dfcnqd1.add(gdstk.Label('MI7', (3.615,4.795), layer=1, texttype=0))
sg13g2f_dfcnqd1.add(gdstk.Label('Mdd0p', (4.575,4.795), layer=1, texttype=0))
sg13g2f_dfcnqd1.add(gdstk.Label('MI45', (5.535,5.035), layer=1, texttype=0))
sg13g2f_dfcnqd1.add(gdstk.Label('MI43', (6.495,5.048), layer=1, texttype=0))
sg13g2f_dfcnqd1.add(gdstk.Label('Mcdn0p', (8.415,5.063), layer=1, texttype=0))
sg13g2f_dfcnqd1.add(gdstk.Label('Mdod1p', (9.375,4.843), layer=1, texttype=0))
sg13g2f_dfcnqd1.add(gdstk.Label('Mswd1d2p', (10.335,4.685), layer=1, texttype=0))
sg13g2f_dfcnqd1.add(gdstk.Label('MI26', (11.295,5.063), layer=1, texttype=0))
sg13g2f_dfcnqd1.add(gdstk.Label('MI28', (12.255,5.063), layer=1, texttype=0))
sg13g2f_dfcnqd1.add(gdstk.Label('Mcdn1p', (13.215,4.705), layer=1, texttype=0))
sg13g2f_dfcnqd1.add(gdstk.Label('Md2d3p', (14.175,4.705), layer=1, texttype=0))
sg13g2f_dfcnqd1.add(gdstk.Label('Mobp', (15.135,4.65), layer=1, texttype=0))
sg13g2f_dfcnqd1.add(gdstk.Label('incpb', (0.255,5.05), layer=1, texttype=0))
sg13g2f_dfcnqd1.add(gdstk.Label('incp', (2.175,1.07), layer=1, texttype=0))
sg13g2f_dfcnqd1.add(gdstk.Label('incp', (2.175,4.69), layer=1, texttype=0))
sg13g2f_dfcnqd1.add(gdstk.Label('d0', (5.055,1.07), layer=1, texttype=0))
sg13g2f_dfcnqd1.add(gdstk.Label('d0', (5.055,4.71), layer=1, texttype=0))
sg13g2f_dfcnqd1.add(gdstk.Label('net98', (6.015,5.05), layer=1, texttype=0))
sg13g2f_dfcnqd1.add(gdstk.Label('net98', (7.935,5.05), layer=1, texttype=0))
sg13g2f_dfcnqd1.add(gdstk.Label('d1', (8.895,1.07), layer=1, texttype=0))
sg13g2f_dfcnqd1.add(gdstk.Label('d1', (9.855,4.71), layer=1, texttype=0))
sg13g2f_dfcnqd1.add(gdstk.Label('d2', (9.855,1.07), layer=1, texttype=0))
sg13g2f_dfcnqd1.add(gdstk.Label('d2', (10.815,5.05), layer=1, texttype=0))
sg13g2f_dfcnqd1.add(gdstk.Label('net57', (10.815,1.07), layer=1, texttype=0))
sg13g2f_dfcnqd1.add(gdstk.Label('net57', (11.775,1.07), layer=1, texttype=0))
sg13g2f_dfcnqd1.add(gdstk.Label('d3', (14.655,1.47), layer=1, texttype=0))
sg13g2f_dfcnqd1.add(gdstk.Label('d3', (13.695,4.71), layer=1, texttype=0))
sg13g2f_dfcnqd1.add(gdstk.Label('q', (16.575,1.07), layer=1, texttype=0))
sg13g2f_dfcnqd1.add(gdstk.Label('q', (15.615,4.71), layer=1, texttype=0))
sg13g2f_dfcnqd1.add(gdstk.Label('cp', (0.255,2.13), layer=8, texttype=25))
sg13g2f_dfcnqd1.add(gdstk.Label('cp', (0.255,2.37), layer=8, texttype=25))
sg13g2f_dfcnqd1.add(gdstk.Label('d', (4.575,2.13), layer=8, texttype=25))
sg13g2f_dfcnqd1.add(gdstk.Label('d', (4.575,1.8), layer=8, texttype=25))
sg13g2f_dfcnqd1.add(gdstk.Label('cdn', (13.215,2.13), layer=8, texttype=25))
sg13g2f_dfcnqd1.add(gdstk.Label('cdn', (13.215,2.85), layer=8, texttype=25))
sg13g2f_dfcnqd1.add(gdstk.Label('cdn', (13.215,3.57), layer=8, texttype=25))
sg13g2f_dfcnqd1.add(gdstk.Label('cdn', (9.375,1.47), layer=8, texttype=25))
sg13g2f_dfcnqd1.add(gdstk.Label('cdn', (11.295,1.8), layer=8, texttype=25))
sg13g2f_dfcnqd1.add(gdstk.Label('cdn', (12.255,2.13), layer=8, texttype=25))
sg13g2f_dfcnqd1.add(gdstk.Label('q', (16.575,1.07), layer=8, texttype=25))
sg13g2f_dfcnqd1.add(gdstk.Label('q', (15.615,4.71), layer=8, texttype=25))
sg13g2f_dfcnqd1.add(gdstk.Label('q', (16.575,2.89), layer=8, texttype=25))
sg13g2f_dfcnqd1.add(gdstk.Label('q', (16.095,4.71), layer=8, texttype=25))
sg13g2f_dfcnqd1.add(gdstk.Label('vss', (8.5,0), layer=8, texttype=25))
sg13g2f_dfcnqd1.add(gdstk.Label('vdd', (8.5,6.12), layer=8, texttype=25))
sg13g2f_dfcnqd1.add(gdstk.Label('incpb', (2.655,1.47), layer=5, texttype=0))
sg13g2f_dfcnqd1.add(gdstk.Label('incpb', (3.135,1.47), layer=5, texttype=0))
sg13g2f_dfcnqd1.add(gdstk.Label('incpb', (3.615,1.27), layer=5, texttype=0))
sg13g2f_dfcnqd1.add(gdstk.Label('incpb', (10.335,2.61), layer=5, texttype=0))
sg13g2f_dfcnqd1.add(gdstk.Label('incpb', (10.335,3.66), layer=5, texttype=0))
sg13g2f_dfcnqd1.add(gdstk.Label('incpb', (1.695,1.84), layer=5, texttype=0))
sg13g2f_dfcnqd1.add(gdstk.Label('incpb', (1.215,2.61), layer=5, texttype=0))
sg13g2f_dfcnqd1.add(gdstk.Label('incpb', (0.735,2.61), layer=5, texttype=0))
sg13g2f_dfcnqd1.add(gdstk.Label('incpb', (1.695,3.83), layer=5, texttype=0))
sg13g2f_dfcnqd1.add(gdstk.Label('incpb', (1.695,2.61), layer=5, texttype=0))
sg13g2f_dfcnqd1.add(gdstk.Label('incpb', (10.335,1.825), layer=5, texttype=0))
sg13g2f_dfcnqd1.add(gdstk.Label('incpb', (1.695,5.38), layer=5, texttype=0))
sg13g2f_dfcnqd1.add(gdstk.Label('incpb', (1.695,5.71), layer=5, texttype=0))
sg13g2f_dfcnqd1.add(gdstk.Label('incpb', (5.535,5.71), layer=5, texttype=0))
sg13g2f_dfcnqd1.add(gdstk.Label('incpb', (5.535,5.38), layer=5, texttype=0))
sg13g2f_dfcnqd1.add(gdstk.Label('cp', (0.735,1.27), layer=5, texttype=0))
sg13g2f_dfcnqd1.add(gdstk.Label('cp', (0.495,1.47), layer=5, texttype=0))
sg13g2f_dfcnqd1.add(gdstk.Label('cp', (0.255,2.28), layer=5, texttype=0))
sg13g2f_dfcnqd1.add(gdstk.Label('cp', (0.495,3.09), layer=5, texttype=0))
sg13g2f_dfcnqd1.add(gdstk.Label('cp', (0.735,4.07), layer=5, texttype=0))
sg13g2f_dfcnqd1.add(gdstk.Label('cp', (0.255,2.13), layer=5, texttype=0))
sg13g2f_dfcnqd1.add(gdstk.Label('incp', (5.535,0.41), layer=5, texttype=0))
sg13g2f_dfcnqd1.add(gdstk.Label('incp', (5.535,0.74), layer=5, texttype=0))
sg13g2f_dfcnqd1.add(gdstk.Label('incp', (3.615,2.13), layer=5, texttype=0))
sg13g2f_dfcnqd1.add(gdstk.Label('incp', (3.615,3.42), layer=5, texttype=0))
sg13g2f_dfcnqd1.add(gdstk.Label('incp', (9.375,0.74), layer=5, texttype=0))
sg13g2f_dfcnqd1.add(gdstk.Label('incp', (10.335,0.41), layer=5, texttype=0))
sg13g2f_dfcnqd1.add(gdstk.Label('incp', (11.295,2.73), layer=5, texttype=0))
sg13g2f_dfcnqd1.add(gdstk.Label('incp', (3.615,3.57), layer=5, texttype=0))
sg13g2f_dfcnqd1.add(gdstk.Label('d0', (9.375,2.13), layer=5, texttype=0))
sg13g2f_dfcnqd1.add(gdstk.Label('d0', (9.375,3.42), layer=5, texttype=0))
sg13g2f_dfcnqd1.add(gdstk.Label('d0', (8.415,2.08), layer=5, texttype=0))
sg13g2f_dfcnqd1.add(gdstk.Label('d0', (8.415,3.09), layer=5, texttype=0))
sg13g2f_dfcnqd1.add(gdstk.Label('d0', (8.415,2.13), layer=5, texttype=0))
sg13g2f_dfcnqd1.add(gdstk.Label('d', (4.575,2.89), layer=5, texttype=0))
sg13g2f_dfcnqd1.add(gdstk.Label('d', (4.575,2.13), layer=5, texttype=0))
sg13g2f_dfcnqd1.add(gdstk.Label('d1', (6.495,3.06), layer=5, texttype=0))
sg13g2f_dfcnqd1.add(gdstk.Label('d1', (6.495,3.57), layer=5, texttype=0))
sg13g2f_dfcnqd1.add(gdstk.Label('d1', (6.495,1.79), layer=5, texttype=0))
sg13g2f_dfcnqd1.add(gdstk.Label('cdn', (7.455,2.89), layer=5, texttype=0))
sg13g2f_dfcnqd1.add(gdstk.Label('cdn', (7.935,4.71), layer=5, texttype=0))
sg13g2f_dfcnqd1.add(gdstk.Label('cdn', (8.415,4.88), layer=5, texttype=0))
sg13g2f_dfcnqd1.add(gdstk.Label('cdn', (13.215,1.6), layer=5, texttype=0))
sg13g2f_dfcnqd1.add(gdstk.Label('cdn', (13.215,2.13), layer=5, texttype=0))
sg13g2f_dfcnqd1.add(gdstk.Label('cdn', (13.215,3.57), layer=5, texttype=0))
sg13g2f_dfcnqd1.add(gdstk.Label('cdn', (13.215,4.14), layer=5, texttype=0))
sg13g2f_dfcnqd1.add(gdstk.Label('d2', (14.175,0.41), layer=5, texttype=0))
sg13g2f_dfcnqd1.add(gdstk.Label('d2', (14.175,0.74), layer=5, texttype=0))
sg13g2f_dfcnqd1.add(gdstk.Label('d2', (14.175,1.84), layer=5, texttype=0))
sg13g2f_dfcnqd1.add(gdstk.Label('d2', (14.175,2.61), layer=5, texttype=0))
sg13g2f_dfcnqd1.add(gdstk.Label('d2', (14.175,3.57), layer=5, texttype=0))
sg13g2f_dfcnqd1.add(gdstk.Label('d2', (14.175,4.14), layer=5, texttype=0))
sg13g2f_dfcnqd1.add(gdstk.Label('d3', (12.255,1.27), layer=5, texttype=0))
sg13g2f_dfcnqd1.add(gdstk.Label('d3', (12.255,1.47), layer=5, texttype=0))
sg13g2f_dfcnqd1.add(gdstk.Label('d3', (12.255,3.26), layer=5, texttype=0))
sg13g2f_dfcnqd1.add(gdstk.Label('d3', (13.695,3.09), layer=5, texttype=0))
sg13g2f_dfcnqd1.add(gdstk.Label('d3', (14.415,3.09), layer=5, texttype=0))
sg13g2f_dfcnqd1.add(gdstk.Label('d3', (15.135,3.9), layer=5, texttype=0))
sg13g2f_dfcnqd1.add(gdstk.Label('d3', (16.095,2.08), layer=5, texttype=0))
sg13g2f_dfcnqd1.add(gdstk.Label('d3', (14.175,3.09), layer=5, texttype=0))
sg13g2f_dfcnqd1.add(gdstk.Label('cdn', (7.455,1.79), layer=5, texttype=0))

lib.write_gds('sg13g2f_DFCNQD1.gds')
